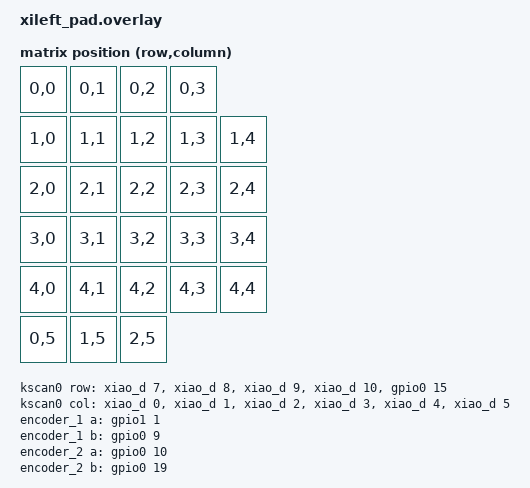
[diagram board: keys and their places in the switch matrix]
/*
 * Copyright (c) 2026 Xiphelier
 * SPDX-License-Identifier: MIT
 *
 * xileft pad ― 左手用 27 キー + ロータリーエンコーダ 3 個
 * コントローラ: Seeed XIAO nRF52840 Plus (board: xiao_ble//zmk)
 *
 * 配線は KiCad のネット名 (COL0-5 / ROW0-4 / ROT0-5) に対応。
 * D0-D10 は &xiao_d で、D11 以降は nRF52840 のポート名で直接指定する。
 * ROW5 は回路図上のラベルのみでスイッチ実体が無いため、定義から除外している。
 * これにより D12 (P0.19) がパターン上空いている。
 *
 * ★ この定義は「リワーク後の v1 基板」に対応する（カット1・ジャンパ1）:
 *     1. カット:   ROT3 (エンコーダ2 B相) -> D16 (P0.31) のパターンを
 *        D16 パッド付近で切断
 *     2. ジャンパ: エンコーダ2 B相 -> D12 パッド (P0.19)
 *   これにより P0.31 が完全に空き、電池残量レポートが機能する。
 */

#include <dt-bindings/zmk/matrix_transform.h>
#include "xileft_pad-layouts.dtsi"

&physical_layout0 {
    transform = <&default_transform>;
};

/ {
    chosen {
        zmk,kscan = &kscan0;
        zmk,physical-layout = &physical_layout0;
    };

    kscan0: kscan {
        compatible = "zmk,kscan-gpio-matrix";
        diode-direction = "col2row";
        wakeup-source;

        col-gpios
            = <&xiao_d 0 GPIO_ACTIVE_HIGH>      // COL0  D0   P0.02
            , <&xiao_d 1 GPIO_ACTIVE_HIGH>      // COL1  D1   P0.03
            , <&xiao_d 2 GPIO_ACTIVE_HIGH>      // COL2  D2   P0.28
            , <&xiao_d 3 GPIO_ACTIVE_HIGH>      // COL3  D3   P0.29
            , <&xiao_d 4 GPIO_ACTIVE_HIGH>      // COL4  D4   P0.04
            , <&xiao_d 5 GPIO_ACTIVE_HIGH>      // COL5  D5   P0.05
            ;

        row-gpios
            = <&xiao_d 7  (GPIO_ACTIVE_HIGH | GPIO_PULL_DOWN)>   // ROW0  D7   P1.12
            , <&xiao_d 8  (GPIO_ACTIVE_HIGH | GPIO_PULL_DOWN)>   // ROW1  D8   P1.13
            , <&xiao_d 9  (GPIO_ACTIVE_HIGH | GPIO_PULL_DOWN)>   // ROW2  D9   P1.14
            , <&xiao_d 10 (GPIO_ACTIVE_HIGH | GPIO_PULL_DOWN)>   // ROW3  D10  P1.15
            , <&gpio0 15  (GPIO_ACTIVE_HIGH | GPIO_PULL_DOWN)>   // ROW4  D11  P0.15
            ;
    };

    /*
     * QMK 版 keyboard.json の LAYOUT と同じ並び順（ROW5 の4キーを除く）。
     * 5行 x 6列 = 30 のうち 27 箇所を使用する。
     */
    default_transform: keymap_transform0 {
        compatible = "zmk,matrix-transform";
        columns = <6>;
        rows = <5>;
        map = <
        //  row 0
            RC(0,0) RC(0,1) RC(0,2) RC(0,3)
        //  row 1
            RC(1,0) RC(1,1) RC(1,2) RC(1,3) RC(1,4)
        //  row 2
            RC(2,0) RC(2,1) RC(2,2) RC(2,3) RC(2,4)
        //  row 3
            RC(3,0) RC(3,1) RC(3,2) RC(3,3) RC(3,4)
        //  row 4
            RC(4,0) RC(4,1) RC(4,2) RC(4,3) RC(4,4)
        //  levers
            RC(0,5) RC(1,5) RC(2,5)
        >;
    };

    /*
     * ロータリーエンコーダ 3 個。
     *
     * steps は 1 回転あたりのパルス数（一般的な 20 デテント EC11 で 80）。
     * triggers-per-rotation は QMK 版の resolution から換算:
     *   enc1: resolution 4 -> 1 デテント 1 アクション -> 20
     *   enc2: resolution 2 -> 1 デテント 2 アクション -> 40
     *   enc3: resolution 2 -> 1 デテント 2 アクション -> 40
     *
     * 回転方向が逆になる場合は a-gpios と b-gpios を入れ替える。
     */
    encoder_1: encoder_1 {
        compatible = "alps,ec11";
        a-gpios = <&gpio1 1 (GPIO_ACTIVE_HIGH | GPIO_PULL_UP)>;   // ROT0  D13  P1.01
        b-gpios = <&gpio0 9 (GPIO_ACTIVE_HIGH | GPIO_PULL_UP)>;   // ROT1  D14  P0.09 (NFC)
        steps = <80>;
        status = "okay";
    };

    encoder_2: encoder_2 {
        compatible = "alps,ec11";
        a-gpios = <&gpio0 10 (GPIO_ACTIVE_HIGH | GPIO_PULL_UP)>;  // ROT2  D15  P0.10 (NFC)
        b-gpios = <&gpio0 19 (GPIO_ACTIVE_HIGH | GPIO_PULL_UP)>;  // ROT3  D12  P0.19 ★ジャンパ先（D16 からカットして移設）
        steps = <80>;
        status = "okay";
    };

    encoder_3: encoder_3 {
        compatible = "alps,ec11";
        a-gpios = <&gpio1 3 (GPIO_ACTIVE_HIGH | GPIO_PULL_UP)>;   // ROT4  D17  P1.03 ★要実測
        b-gpios = <&gpio1 5 (GPIO_ACTIVE_HIGH | GPIO_PULL_UP)>;   // ROT5  D18  P1.05
        steps = <80>;
        status = "okay";
    };

    sensors: sensors {
        compatible = "zmk,keymap-sensors";
        sensors = <&encoder_1 &encoder_2 &encoder_3>;
        triggers-per-rotation = <20>;

        enc1_config { triggers-per-rotation = <20>; };
        enc2_config { triggers-per-rotation = <40>; };
        enc3_config { triggers-per-rotation = <40>; };
    };

    /*
     * 電源インジケータ ― XIAO オンボードの緑 LED (P0.30, アクティブ Low)。
     *
     * ext-power ドライバを転用している。挙動:
     *   - 起動時に自動点灯（= 電源が入っていることが分かる）
     *   - BT レイヤの &ext_power EP_TOG で消灯/再点灯できる（電池節約）
     *   - ON/OFF 状態は保存され、再起動後も維持される
     *   - ディープスリープ（CONFIG_ZMK_SLEEP 有効時）では自動消灯し、復帰で再点灯
     *
     * ノード名 EXT_POWER は設定保存のキーに使われる慣例名なので変更しないこと。
     */
    EXT_POWER {
        compatible = "zmk,ext-power-generic";
        control-gpios = <&gpio0 30 GPIO_ACTIVE_LOW>;   // 緑 LED
    };
};

/*
 * ROT1 / ROT2 が nRF52840 の NFC 兼用ピン (P0.09 / P0.10) に載っているため、
 * GPIO として開放する。UICR に一度だけ書き込まれる設定で、
 * 元に戻すにはチップの全消去が必要。
 */
&uicr {
    nfct-pins-as-gpios;
};

/*
 * リワークで ROT3 を P0.31 から P0.19 へ移設したため、&vbatt は無効化しない。
 * P0.31 が空いたので電池残量レポート（BLE の電池表示）がそのまま機能する。
 * ※ カットが不完全で P0.31 がエンコーダ線につながったままだと、
 *    残量が常に 100% 付近や 0% 付近に張り付く。その場合はカット箇所を再確認。
 */

/*
 * xiao_ble のボード定義では i2c1 と spi2 が既定で
 *   i2c1 -> P0.04 / P0.05  = COL4 / COL5
 *   spi2 -> P1.13 / P1.14 / P1.15 = ROW1 / ROW2 / ROW3
 * を握る設定になっている。素のキーボードビルドでは
 * CONFIG_I2C / CONFIG_SPI が無効なので実害は出ないが、
 * 将来 OLED やポインティングデバイスを足したときの衝突を防ぐため明示的に切る。
 */
&xiao_i2c {
    status = "disabled";
};

&xiao_spi {
    status = "disabled";
};
